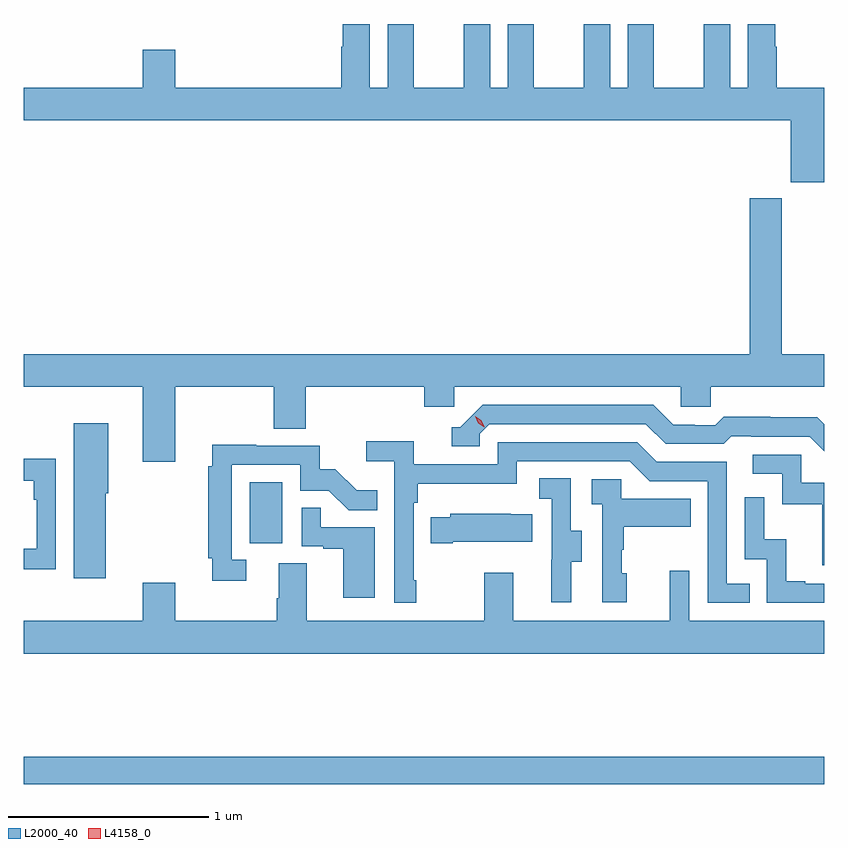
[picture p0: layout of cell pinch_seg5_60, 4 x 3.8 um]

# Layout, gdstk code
import gdstk
lib = gdstk.Library(unit=1e-6, precision=1e-09)
def R(c, l, rs):  # rectangles x0, y0, x1, y1
    for r in rs: c.add(gdstk.rectangle(r[:2], r[2:], *l))
def P(c, l, *ps):  # polygons
    for p in ps: c.add(gdstk.Polygon(p, *l))
L2000_40 = (2000, 40)
L4158_0 = (4158, 0)

pinch_seg5_60 = lib.new_cell('pinch_seg5_60')
R(pinch_seg5_60, L2000_40, [(1063.514,909.388,1067.514,909.524), (1064.642,910.59,1064.806,910.897)])
P(pinch_seg5_60, L2000_40, [(1067.514,912.868),(1067.276,912.868),(1067.276,913.073),(1067.269,913.073),(1067.269,913.186),(1067.132,913.186),(1067.132,912.868),(1067.044,912.868),(1067.044,913.186),(1066.913,913.186),(1066.913,912.868),(1066.663,912.868),(1066.663,913.186),(1066.532,913.186),(1066.532,912.868),(1066.444,912.868),(1066.444,913.186),(1066.313,913.186),(1066.313,912.868),(1066.063,912.868),(1066.063,913.186),(1065.932,913.186),(1065.932,912.868),(1065.844,912.868),(1065.844,913.186),(1065.713,913.186),(1065.713,912.868),(1065.463,912.868),(1065.463,913.186),(1065.332,913.186),(1065.332,912.868),(1065.244,912.868),(1065.244,913.186),(1065.107,913.186),(1065.107,913.073),(1065.101,913.073),(1065.101,912.868),(1064.272,912.868),(1064.272,913.057),(1064.108,913.057),(1064.108,912.868),(1063.514,912.868),(1063.514,912.704),(1067.348,912.704),(1067.348,912.395),(1067.514,912.395)],
  [(1064.272,911.372),(1064.764,911.372),(1064.764,911.164),(1064.924,911.164),(1064.924,911.372),(1065.515,911.372),(1065.515,911.274),(1065.666,911.274),(1065.666,911.372),(1066.797,911.372),(1066.797,911.274),(1066.947,911.274),(1066.947,911.372),(1067.514,911.372),(1067.514,911.536),(1067.301,911.536),(1067.301,912.316),(1067.141,912.316),(1067.141,911.536),(1063.514,911.536),(1063.514,911.372),(1064.108,911.372),(1064.108,910.998),(1064.272,910.998)],
  [(1067.514,911.187),(1067.48,911.221),(1067.244,911.221),(1067.244,911.224),(1067.011,911.224),(1066.969,911.181),(1066.866,911.181),(1066.866,911.184),(1066.759,911.184),(1066.66,911.283),(1065.807,911.283),(1065.696,911.172),(1065.653,911.172),(1065.653,911.076),(1065.792,911.076),(1065.792,911.139),(1065.84,911.187),(1066.623,911.187),(1066.722,911.088),(1067.011,911.088),(1067.05,911.127),(1067.149,911.127),(1067.149,911.124),(1067.442,911.124),(1067.514,911.052)],
  [(1063.924,910.842),(1063.936,910.842),(1063.936,911.191),(1063.763,911.191),(1063.763,910.416),(1063.924,910.416)],
  [(1065.475,910.405),(1065.462,910.405),(1065.462,910.793),(1065.482,910.793),(1065.482,910.889),(1065.978,910.889),(1065.978,911.001),(1066.542,911.001),(1066.641,910.902),(1066.932,910.902),(1066.932,910.293),(1067.141,910.293),(1067.141,910.389),(1067.028,910.389),(1067.028,910.998),(1066.678,910.998),(1066.579,911.097),(1065.882,911.097),(1065.882,910.986),(1065.464,910.986),(1065.464,911.102),(1065.225,911.102),(1065.225,911),(1065.366,911),(1065.366,910.293),(1065.475,910.293)],
  [(1064.626,910.509),(1064.553,910.509),(1064.553,910.983),(1064.895,910.983),(1064.895,910.854),(1065.039,910.854),(1065.137,910.756),(1065.281,910.756),(1065.281,910.855),(1065.177,910.855),(1065.07,910.962),(1064.994,910.962),(1064.994,911.079),(1064.675,911.079),(1064.675,911.084),(1064.456,911.084),(1064.456,910.976),(1064.437,910.976),(1064.437,910.516),(1064.456,910.516),(1064.456,910.404),(1064.626,910.404)],
  [(1067.514,910.893),(1067.4,910.893),(1067.4,911.034),(1067.157,911.034),(1067.157,910.938),(1067.304,910.938),(1067.304,910.785),(1067.503,910.785),(1067.503,910.482),(1067.514,910.482)],
  [(1063.674,911.014),(1063.514,911.014),(1063.514,910.904),(1063.565,910.904),(1063.565,910.808),(1063.578,910.808),(1063.578,910.563),(1063.514,910.563),(1063.514,910.462),(1063.674,910.462)],
  [(1066.249,910.498),(1066.303,910.498),(1066.303,910.653),(1066.248,910.653),(1066.248,910.916),(1066.089,910.916),(1066.089,910.813),(1066.152,910.813),(1066.152,910.509),(1066.151,910.509),(1066.151,910.296),(1066.249,910.296)],
  [(1066.528,910.44),(1066.503,910.44),(1066.503,910.559),(1066.513,910.559),(1066.513,910.673),(1066.847,910.673),(1066.847,910.813),(1066.5,910.813),(1066.5,910.911),(1066.353,910.911),(1066.353,910.787),(1066.404,910.787),(1066.404,910.296),(1066.528,910.296)],
  [(1067.514,910.389),(1067.419,910.389),(1067.419,910.402),(1067.324,910.402),(1067.324,910.61),(1067.214,910.61),(1067.214,910.822),(1067.118,910.822),(1067.118,910.512),(1067.226,910.512),(1067.226,910.293),(1067.514,910.293)],
  [(1065.268,910.671),(1064.999,910.671),(1064.999,910.769),(1064.904,910.769),(1064.904,910.575),(1065.011,910.575),(1065.011,910.563),(1065.11,910.563),(1065.11,910.32),(1065.268,910.32)],
  [(1065.658,910.598),(1066.055,910.598),(1066.055,910.735),(1065.947,910.735),(1065.947,910.738),(1065.645,910.738),(1065.645,910.72),(1065.547,910.72),(1065.547,910.591),(1065.658,910.591)],
  [(1067.514,910.204),(1066.839,910.204),(1066.839,910.453),(1066.742,910.453),(1066.742,910.204),(1065.961,910.204),(1065.961,910.444),(1065.814,910.444),(1065.814,910.204),(1064.929,910.204),(1064.929,910.49),(1064.789,910.49),(1064.789,910.316),(1064.777,910.316),(1064.777,910.204),(1064.272,910.204),(1064.272,910.393),(1064.108,910.393),(1064.108,910.204),(1063.514,910.204),(1063.514,910.04),(1067.514,910.04)])
P(pinch_seg5_60, L4158_0, [(1065.815,911.172),(1065.785,911.192),(1065.769,911.225),(1065.769,911.225),(1065.77,911.225),(1065.8,911.205),(1065.815,911.173),(1065.815,911.172)])

lib.write_gds('pinch_seg5_60.gds')
